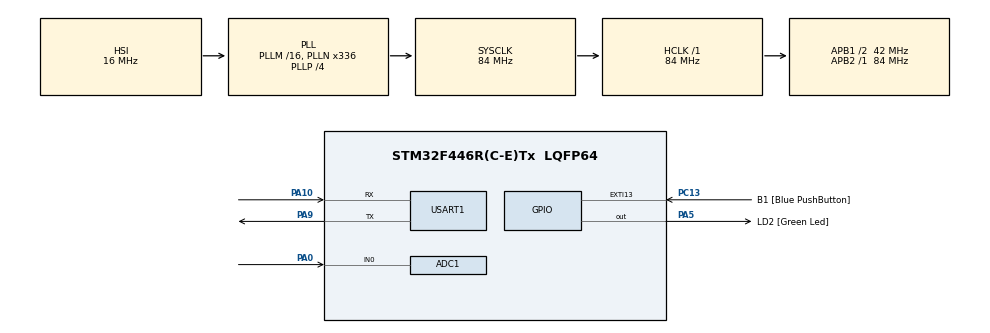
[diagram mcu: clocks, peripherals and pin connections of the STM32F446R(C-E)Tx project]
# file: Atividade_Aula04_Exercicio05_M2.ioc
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ADC1.Channel-0\#ChannelRegularConversion=ADC_CHANNEL_0
ADC1.NbrOfConversionFlag=1
ADC1.Rank-0\#ChannelRegularConversion=1
ADC1.SamplingTime-0\#ChannelRegularConversion=ADC_SAMPLETIME_3CYCLES
ADC1.master=1
FREERTOS.BinarySemaphores01=semCalc,Dynamic,NULL,Depleted
FREERTOS.CountingSemaphores01=semSend,1,Dynamic,NULL,0
FREERTOS.Tasks01=TaskADC,24,128,StartTaslADC,Default,NULL,Dynamic,NULL,NULL;TaskCalc,24,128,StartTaskCalc,Default,NULL,Dynamic,NULL,NULL;TaskSend,24,256,StartTaskSend,Default,NULL,Dynamic,NULL,NULL
FREERTOS.configUSE_NEWLIB_REENTRANT=1
Mcu.Family=STM32F4
Mcu.Name=STM32F446R(C-E)Tx
Mcu.Package=LQFP64
NVIC.EXTI15_10_IRQn=true\:5\:0\:true\:false\:true\:true\:true\:true\:true
NVIC.PriorityGroup=NVIC_PRIORITYGROUP_4
NVIC.TIM1_UP_TIM10_IRQn=true\:15\:0\:false\:false\:true\:false\:false\:true\:true
NVIC.TimeBase=TIM1_UP_TIM10_IRQn
NVIC.TimeBaseIP=TIM1
PA0-WKUP.Signal=ADCx_IN0
PA10.Mode=Asynchronous
PA10.Signal=USART1_RX
PA13.GPIO_Label=TMS
PA13.Mode=Serial_Wire
PA13.Signal=SYS_JTMS-SWDIO
PA14.GPIO_Label=TCK
PA14.Mode=Serial_Wire
PA14.Signal=SYS_JTCK-SWCLK
PA5.GPIO_Label=LD2 [Green Led]
PA5.Signal=GPIO_Output
PA9.Mode=Asynchronous
PA9.Signal=USART1_TX
PB3.GPIO_Label=SWO
PB3.Signal=SYS_JTDO-SWO
PC13.GPIO_Label=B1 [Blue PushButton]
PC13.GPIO_ModeDefaultEXTI=GPIO_MODE_IT_FALLING
PC13.Signal=GPXTI13
PC14-OSC32_IN.Mode=LSE-External-Oscillator
PC14-OSC32_IN.Signal=RCC_OSC32_IN
PC15-OSC32_OUT.Mode=LSE-External-Oscillator
PC15-OSC32_OUT.Signal=RCC_OSC32_OUT
PH0-OSC_IN.Mode=HSE-External-Oscillator
PH0-OSC_IN.Signal=RCC_OSC_IN
PH1-OSC_OUT.Mode=HSE-External-Oscillator
PH1-OSC_OUT.Signal=RCC_OSC_OUT
ProjectManager.HeapSize=0x200
ProjectManager.StackSize=0x400
ProjectManager.TargetToolchain=STM32CubeIDE
RCC.48MHZClocksFreq_Value=84000000
RCC.AHBFreq_Value=84000000
RCC.APB1CLKDivider=RCC_HCLK_DIV2
RCC.APB1Freq_Value=42000000
RCC.APB1TimFreq_Value=84000000
RCC.APB2Freq_Value=84000000
RCC.APB2TimFreq_Value=84000000
RCC.CortexFreq_Value=84000000
RCC.FLatency-AdvancedSettings=FLASH_LATENCY_2
RCC.HCLKFreq_Value=84000000
RCC.HSE_VALUE=8000000
RCC.HSI_VALUE=16000000
RCC.PLLN=336
RCC.PLLP=RCC_PLLP_DIV4
RCC.SYSCLKFreq_VALUE=84000000
RCC.SYSCLKSource=RCC_SYSCLKSOURCE_PLLCLK
RCC.USBFreq_Value=168000000
RCC.VCOOutputFreq_Value=336000000
SH.ADCx_IN0.0=ADC1_IN0,IN0
USART1.VirtualMode=VM_ASYNC
VP_FREERTOS_VS_CMSIS_V2.Mode=CMSIS_V2
VP_SYS_VS_tim1.Mode=TIM1
board=NUCLEO-F446RE

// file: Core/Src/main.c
/* USER CODE BEGIN Header */
/**
  ******************************************************************************
  * @file           : main.c
  * @brief          : Main program body
  ******************************************************************************
  * @attention
  *
  * Copyright (c) 2025 STMicroelectronics.
  * All rights reserved.
  *
  * This software is licensed under terms that can be found in the LICENSE file
  * in the root directory of this software component.
  * If no LICENSE file comes with this software, it is provided AS-IS.
  *
  ******************************************************************************
  */
/* USER CODE END Header */
#include "main.h"
#include "cmsis_os.h"

/* USER CODE BEGIN Includes */
#include<string.h>
#include<stdio.h>

/* USER CODE END Includes */

/* USER CODE BEGIN PD */
#define ADC_SAMPLES 100
#define REPETITION 10

/* USER CODE END PD */

ADC_HandleTypeDef hadc1;

UART_HandleTypeDef huart1;

/* Definitions for TaskADC */
osThreadId_t TaskADCHandle;
const osThreadAttr_t TaskADC_attributes = {
  .name = "TaskADC",
  .stack_size = 128 * 4,
  .priority = (osPriority_t) osPriorityNormal,
};
/* Definitions for TaskCalc */
osThreadId_t TaskCalcHandle;
const osThreadAttr_t TaskCalc_attributes = {
  .name = "TaskCalc",
  .stack_size = 128 * 4,
  .priority = (osPriority_t) osPriorityNormal,
};
/* Definitions for TaskSend */
osThreadId_t TaskSendHandle;
const osThreadAttr_t TaskSend_attributes = {
  .name = "TaskSend",
  .stack_size = 256 * 4,
  .priority = (osPriority_t) osPriorityNormal,
};
/* Definitions for semCalc */
osSemaphoreId_t semCalcHandle;
const osSemaphoreAttr_t semCalc_attributes = {
  .name = "semCalc"
};
/* Definitions for semSend */
osSemaphoreId_t semSendHandle;
const osSemaphoreAttr_t semSend_attributes = {
  .name = "semSend"
};
/* USER CODE BEGIN PV */
volatile uint8_t flag = 0;
double ADCBuffer[ADC_SAMPLES] = {0};
double average;

/* USER CODE END PV */

void SystemClock_Config(void);
static void MX_GPIO_Init(void);
static void MX_ADC1_Init(void);
static void MX_USART1_UART_Init(void);
void StartTaslADC(void *argument);
void StartTaskCalc(void *argument);
void StartTaskSend(void *argument);

/* USER CODE BEGIN 0 */

void HAL_GPIO_EXTI_Callback(uint16_t pin)
{
	if(pin == B1_Pin)
	{
		flag = 1;
	}
}

double map(uint16_t x, float in_min, float in_max, float out_min, float out_max)
{
    return (x - in_min) * (out_max - out_min) / (in_max - in_min) + out_min;
}

/* USER CODE END 0 */

int main(void)
{

  /* MCU Configuration--------------------------------------------------------*/

  /* Reset of all peripherals, Initializes the Flash interface and the Systick. */
  HAL_Init();

  /* Configure the system clock */
  SystemClock_Config();

  /* Initialize all configured peripherals */
  MX_GPIO_Init();
  MX_ADC1_Init();
  MX_USART1_UART_Init();

  /* Init scheduler */
  osKernelInitialize();

  /* Create the semaphores(s) */
  /* creation of semCalc */
  semCalcHandle = osSemaphoreNew(1, 0, &semCalc_attributes);

  /* creation of semSend */
  semSendHandle = osSemaphoreNew(1, 0, &semSend_attributes);

  /* Create the thread(s) */
  /* creation of TaskADC */
  TaskADCHandle = osThreadNew(StartTaslADC, NULL, &TaskADC_attributes);

  /* creation of TaskCalc */
  TaskCalcHandle = osThreadNew(StartTaskCalc, NULL, &TaskCalc_attributes);

  /* creation of TaskSend */
  TaskSendHandle = osThreadNew(StartTaskSend, NULL, &TaskSend_attributes);

  /* Start scheduler */
  osKernelStart();

  /* We should never get here as control is now taken by the scheduler */

  /* Infinite loop */
  while (1)
  {

  }
}

void SystemClock_Config(void)
{
  RCC_OscInitTypeDef RCC_OscInitStruct = {0};
  RCC_ClkInitTypeDef RCC_ClkInitStruct = {0};

  /** Configure the main internal regulator output voltage
  */
  __HAL_RCC_PWR_CLK_ENABLE();
  __HAL_PWR_VOLTAGESCALING_CONFIG(PWR_REGULATOR_VOLTAGE_SCALE3);

  /** Initializes the RCC Oscillators according to the specified parameters
  * in the RCC_OscInitTypeDef structure.
  */
  RCC_OscInitStruct.OscillatorType = RCC_OSCILLATORTYPE_HSI;
  RCC_OscInitStruct.HSIState = RCC_HSI_ON;
  RCC_OscInitStruct.HSICalibrationValue = RCC_HSICALIBRATION_DEFAULT;
  RCC_OscInitStruct.PLL.PLLState = RCC_PLL_ON;
  RCC_OscInitStruct.PLL.PLLSource = RCC_PLLSOURCE_HSI;
  RCC_OscInitStruct.PLL.PLLM = 16;
  RCC_OscInitStruct.PLL.PLLN = 336;
  RCC_OscInitStruct.PLL.PLLP = RCC_PLLP_DIV4;
  RCC_OscInitStruct.PLL.PLLQ = 2;
  RCC_OscInitStruct.PLL.PLLR = 2;
  if (HAL_RCC_OscConfig(&RCC_OscInitStruct) != HAL_OK)
  {
    Error_Handler();
  }

  /** Initializes the CPU, AHB and APB buses clocks
  */
  RCC_ClkInitStruct.ClockType = RCC_CLOCKTYPE_HCLK|RCC_CLOCKTYPE_SYSCLK
                              |RCC_CLOCKTYPE_PCLK1|RCC_CLOCKTYPE_PCLK2;
  RCC_ClkInitStruct.SYSCLKSource = RCC_SYSCLKSOURCE_PLLCLK;
  RCC_ClkInitStruct.AHBCLKDivider = RCC_SYSCLK_DIV1;
  RCC_ClkInitStruct.APB1CLKDivider = RCC_HCLK_DIV2;
  RCC_ClkInitStruct.APB2CLKDivider = RCC_HCLK_DIV1;

  if (HAL_RCC_ClockConfig(&RCC_ClkInitStruct, FLASH_LATENCY_2) != HAL_OK)
  {
    Error_Handler();
  }
}

static void MX_ADC1_Init(void)
{

  ADC_ChannelConfTypeDef sConfig = {0};

  /** Configure the global features of the ADC (Clock, Resolution, Data Alignment and number of conversion)
  */
  hadc1.Instance = ADC1;
  hadc1.Init.ClockPrescaler = ADC_CLOCK_SYNC_PCLK_DIV4;
  hadc1.Init.Resolution = ADC_RESOLUTION_12B;
  hadc1.Init.ScanConvMode = DISABLE;
  hadc1.Init.ContinuousConvMode = DISABLE;
  hadc1.Init.DiscontinuousConvMode = DISABLE;
  hadc1.Init.ExternalTrigConvEdge = ADC_EXTERNALTRIGCONVEDGE_NONE;
  hadc1.Init.ExternalTrigConv = ADC_SOFTWARE_START;
  hadc1.Init.DataAlign = ADC_DATAALIGN_RIGHT;
  hadc1.Init.NbrOfConversion = 1;
  hadc1.Init.DMAContinuousRequests = DISABLE;
  hadc1.Init.EOCSelection = ADC_EOC_SINGLE_CONV;
  if (HAL_ADC_Init(&hadc1) != HAL_OK)
  {
    Error_Handler();
  }

  /** Configure for the selected ADC regular channel its corresponding rank in the sequencer and its sample time.
  */
  sConfig.Channel = ADC_CHANNEL_0;
  sConfig.Rank = 1;
  sConfig.SamplingTime = ADC_SAMPLETIME_3CYCLES;
  if (HAL_ADC_ConfigChannel(&hadc1, &sConfig) != HAL_OK)
  {
    Error_Handler();
  }

}

static void MX_USART1_UART_Init(void)
{

  huart1.Instance = USART1;
  huart1.Init.BaudRate = 115200;
  huart1.Init.WordLength = UART_WORDLENGTH_8B;
  huart1.Init.StopBits = UART_STOPBITS_1;
  huart1.Init.Parity = UART_PARITY_NONE;
  huart1.Init.Mode = UART_MODE_TX_RX;
  huart1.Init.HwFlowCtl = UART_HWCONTROL_NONE;
  huart1.Init.OverSampling = UART_OVERSAMPLING_16;
  if (HAL_UART_Init(&huart1) != HAL_OK)
  {
    Error_Handler();
  }

}

static void MX_GPIO_Init(void)
{
  GPIO_InitTypeDef GPIO_InitStruct = {0};

  /* GPIO Ports Clock Enable */
  __HAL_RCC_GPIOC_CLK_ENABLE();
  __HAL_RCC_GPIOH_CLK_ENABLE();
  __HAL_RCC_GPIOA_CLK_ENABLE();
  __HAL_RCC_GPIOB_CLK_ENABLE();

  /*Configure GPIO pin Output Level */
  HAL_GPIO_WritePin(LD2_GPIO_Port, LD2_Pin, GPIO_PIN_RESET);

  /*Configure GPIO pin : B1_Pin */
  GPIO_InitStruct.Pin = B1_Pin;
  GPIO_InitStruct.Mode = GPIO_MODE_IT_FALLING;
  GPIO_InitStruct.Pull = GPIO_NOPULL;
  HAL_GPIO_Init(B1_GPIO_Port, &GPIO_InitStruct);

  /*Configure GPIO pin : LD2_Pin */
  GPIO_InitStruct.Pin = LD2_Pin;
  GPIO_InitStruct.Mode = GPIO_MODE_OUTPUT_PP;
  GPIO_InitStruct.Pull = GPIO_NOPULL;
  GPIO_InitStruct.Speed = GPIO_SPEED_FREQ_LOW;
  HAL_GPIO_Init(LD2_GPIO_Port, &GPIO_InitStruct);

  /* EXTI interrupt init*/
  HAL_NVIC_SetPriority(EXTI15_10_IRQn, 5, 0);
  HAL_NVIC_EnableIRQ(EXTI15_10_IRQn);

}

void StartTaslADC(void *argument)
{
  /* USER CODE BEGIN 5 */
	uint16_t adc_value;
	char *str = "Leitura Realziada com Sucesso !";
	char *msg_Error = "Ocorreu um Erro na Leitura";
  /* Infinite loop */
  for(;;)
  {
	  if(flag == 1)
	  {
		  for(uint16_t i =0;i<ADC_SAMPLES;i++)
		  {
			  HAL_ADC_Start(&hadc1);

			  if(HAL_ADC_PollForConversion(&hadc1,100) == HAL_OK)
			  {
				  adc_value = HAL_ADC_GetValue(&hadc1);
				  ADCBuffer[i] = map(adc_value,0,4096,0,3.3);
				  HAL_UART_Transmit(&huart1, (uint8_t *)str,strlen(str),100);
				  osDelay(100);

			  }
			  else
			  {
				  --i;
				  HAL_UART_Transmit(&huart1, (uint8_t *)msg_Error,strlen(msg_Error),100);

			  }

		  }
		flag = 0;
		osSemaphoreRelease(semCalcHandle);

	  }
    osDelay(100);
  }
  /* USER CODE END 5 */
}

void StartTaskCalc(void *argument)
{
  /* USER CODE BEGIN StartTaskCalc */
	char *msg_Init = "Iniciando o Calculo da Media !";
	char *msg_Sucess = "Media Calculada";

	double sum = 0;
  /* Infinite loop */
  for(;;)
  {
	  osSemaphoreAcquire(semCalcHandle, osWaitForever);
	  HAL_UART_Transmit(&huart1,(uint8_t *)msg_Init,strlen(msg_Init),100);

	  for(uint16_t i = 0;i<ADC_SAMPLES;i++)
	  {
		  sum+=ADCBuffer[i];
	  }

	  average = sum/ADC_SAMPLES;
	  sum = 0;
	  osDelay(100);
	  HAL_UART_Transmit(&huart1, (uint8_t *)msg_Sucess,strlen(msg_Sucess),100);
	  osDelay(100);
	  osSemaphoreRelease(semSendHandle);

  }
  /* USER CODE END StartTaskCalc */
}

void StartTaskSend(void *argument)
{
  /* USER CODE BEGIN StartTaskSend */
	char *msg_init = "Inicio do Envio da Media";
	char *msg_sucess = "Processo Concluido Aguardando o Botao ...";
	char msg_send[20];
  /* Infinite loop */
  for(;;)
  {
	  osSemaphoreAcquire(semSendHandle, osWaitForever);
	  osDelay(10);
	  HAL_UART_Transmit(&huart1,(uint8_t *)msg_init,strlen(msg_init),100);
	  osDelay(100);
	  snprintf(msg_send,100,"Media: %.2lf",average);
	   for(uint8_t i = 0;i<REPETITION;i++)
	 	  {
	 		  HAL_UART_Transmit(&huart1,(uint8_t *)msg_send,strlen(msg_send),100);
	 		  osDelay(100);
	 	  }
	   HAL_UART_Transmit(&huart1,(uint8_t *)msg_sucess,strlen(msg_sucess),100);

	     osDelay(1);

  }
  /* USER CODE END StartTaskSend */
}

void HAL_TIM_PeriodElapsedCallback(TIM_HandleTypeDef *htim)
{
  if (htim->Instance == TIM1) {
    HAL_IncTick();
  }
}

void Error_Handler(void)
{
  __disable_irq();
  while (1)
  {
  }
}
